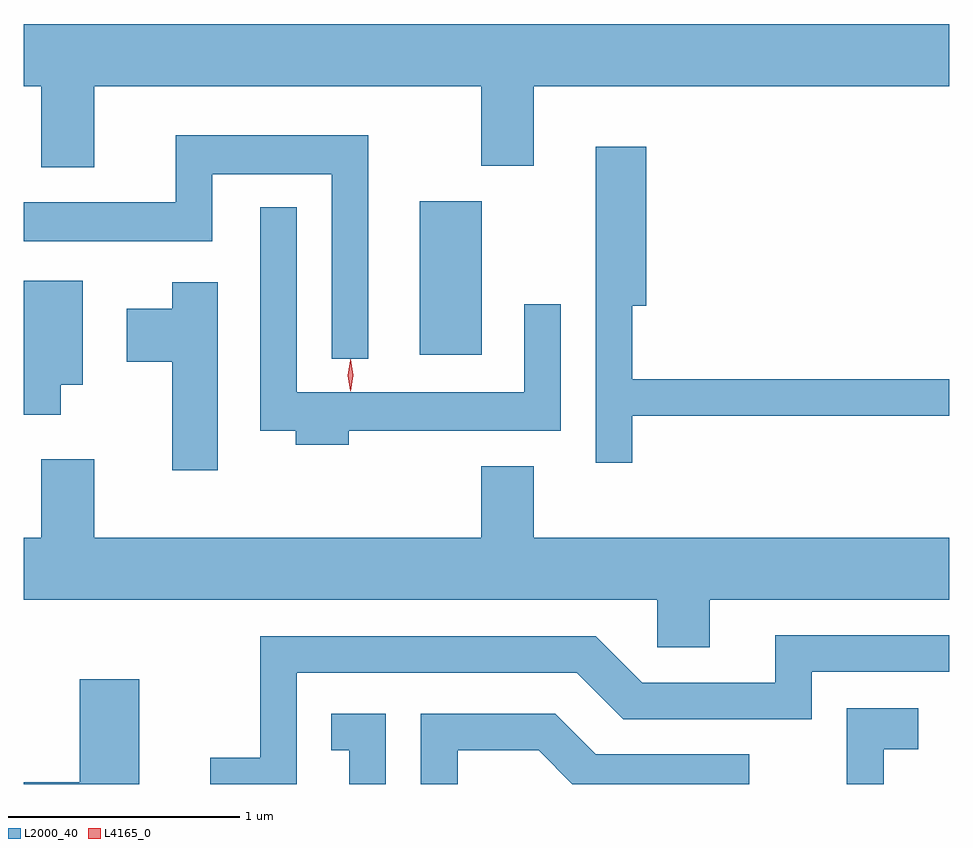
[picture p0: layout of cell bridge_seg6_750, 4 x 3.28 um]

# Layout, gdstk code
import gdstk
lib = gdstk.Library(unit=1e-6, precision=1e-09)
def R(c, l, rs):  # rectangles x0, y0, x1, y1
    for r in rs: c.add(gdstk.rectangle(r[:2], r[2:], *l))
def P(c, l, *ps):  # polygons
    for p in ps: c.add(gdstk.Polygon(p, *l))
L2000_40 = (2000, 40)
L4165_0 = (4165, 0)

bridge_seg6_750 = lib.new_cell('bridge_seg6_750')
R(bridge_seg6_750, L2000_40, [(452.426,1584.396,452.694,1585.059)])
P(bridge_seg6_750, L2000_40, [(451.019,1585.556),(452.691,1585.556),(452.691,1585.211),(452.919,1585.211),(452.919,1585.556),(454.714,1585.556),(454.714,1585.824),(450.714,1585.824),(450.714,1585.556),(450.791,1585.556),(450.791,1585.206),(451.019,1585.206)],
  [(452.204,1585.344),(451.371,1585.344),(451.371,1585.054),(450.714,1585.054),(450.714,1584.886),(451.529,1584.886),(451.529,1585.176),(452.046,1585.176),(452.046,1584.378),(452.204,1584.378)],
  [(453.344,1584.131),(454.714,1584.131),(454.714,1584.289),(453.344,1584.289),(453.344,1584.606),(453.404,1584.606),(453.404,1585.294),(453.186,1585.294),(453.186,1583.928),(453.344,1583.928)],
  [(452.119,1584.066),(453.034,1584.066),(453.034,1584.613),(452.876,1584.613),(452.876,1584.234),(451.894,1584.234),(451.894,1585.033),(451.736,1585.033),(451.736,1584.066),(451.891,1584.066),(451.891,1584.006),(452.119,1584.006)],
  [(450.874,1584.266),(450.969,1584.266),(450.969,1584.714),(450.714,1584.714),(450.714,1584.136),(450.874,1584.136)],
  [(451.554,1584.709),(451.356,1584.709),(451.356,1584.594),(451.161,1584.594),(451.161,1584.366),(451.356,1584.366),(451.356,1583.896),(451.554,1583.896)],
  [(453.679,1583.336),(454.714,1583.336),(454.714,1583.604),(452.919,1583.604),(452.919,1583.914),(452.691,1583.914),(452.691,1583.604),(451.019,1583.604),(451.019,1583.944),(450.791,1583.944),(450.791,1583.604),(450.714,1583.604),(450.714,1583.336),(453.451,1583.336),(453.451,1583.131),(453.679,1583.131)],
  [(451.894,1583.021),(453.104,1583.021),(453.304,1582.821),(454.119,1582.821),(454.119,1583.026),(454.714,1583.026),(454.714,1583.184),(453.961,1583.184),(453.961,1582.979),(453.387,1582.979),(453.187,1583.179),(451.736,1583.179),(451.736,1582.654),(451.521,1582.654),(451.521,1582.541),(451.894,1582.541)],
  [(451.214,1582.994),(450.956,1582.994),(450.956,1582.549),(450.714,1582.549),(450.714,1582.541),(451.214,1582.541)],
  [(454.429,1582.691),(454.579,1582.691),(454.579,1582.869),(454.271,1582.869),(454.271,1582.541),(454.429,1582.541)],
  [(452.279,1582.844),(452.043,1582.844),(452.043,1582.686),(452.121,1582.686),(452.121,1582.541),(452.279,1582.541)],
  [(452.589,1582.686),(452.939,1582.686),(453.084,1582.541),(453.849,1582.541),(453.849,1582.669),(453.187,1582.669),(453.012,1582.844),(452.431,1582.844),(452.431,1582.541),(452.589,1582.541)])
P(bridge_seg6_750, L4165_0, [(452.127,1584.237),(452.118,1584.307),(452.127,1584.376),(452.128,1584.376),(452.128,1584.376),(452.138,1584.307),(452.128,1584.237),(452.128,1584.237)],
  [(452.125,1584.24),(452.125,1584.24),(452.115,1584.306),(452.125,1584.372),(452.125,1584.373),(452.126,1584.372),(452.135,1584.306),(452.126,1584.24)])

lib.write_gds('bridge_seg6_750.gds')
